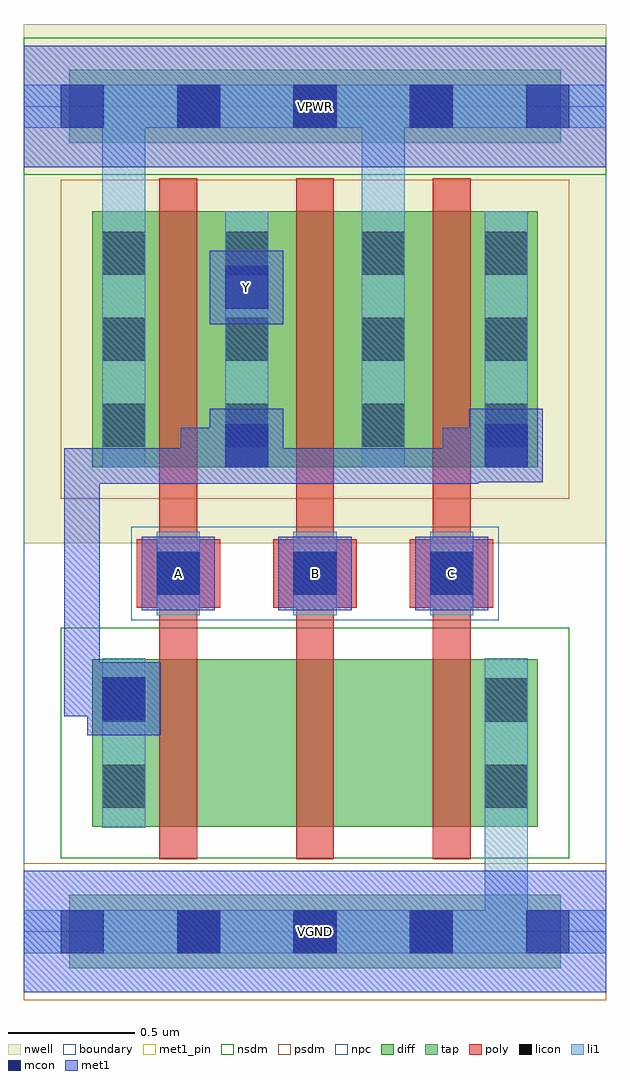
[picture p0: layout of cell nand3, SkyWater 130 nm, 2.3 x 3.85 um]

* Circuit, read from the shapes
.subckt nand3 A B C VGND VPWR Y
XM1 n1 A Y VGND sky130_fd_pr__nfet_01v8 w=0.66 l=0.15
XM2 n2 B n1 VGND sky130_fd_pr__nfet_01v8 w=0.66 l=0.15
XM3 VGND C n2 VGND sky130_fd_pr__nfet_01v8 w=0.66 l=0.15
XM4 Y A VPWR VPWR sky130_fd_pr__pfet_01v8 w=1.01 l=0.15
XM5 VPWR B Y VPWR sky130_fd_pr__pfet_01v8 w=1.01 l=0.15
XM6 Y C VPWR VPWR sky130_fd_pr__pfet_01v8 w=1.01 l=0.15
.ends

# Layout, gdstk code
import gdstk
lib = gdstk.Library(unit=1e-6, precision=1e-09)
def R(c, l, rs):  # rectangles x0, y0, x1, y1
    for r in rs: c.add(gdstk.rectangle(r[:2], r[2:], *l))
def A(c, l, x, y, w, h, nx, ny, dx, dy):  # array of equal rectangles
    R(c, l, [(x+i*dx, y+j*dy, x+i*dx+w, y+j*dy+h) for i in range(nx) for j in range(ny)])
nwell = (64, 20)
diff = (65, 20)
tap = (65, 44)
poly = (66, 20)
licon = (66, 44)
li1 = (67, 20)
mcon = (67, 44)
met1_pin = (68, 16)
met1 = (68, 20)
nsdm = (93, 44)
psdm = (94, 20)
npc = (95, 20)
boundary = (235, 4)

nand3 = lib.new_cell('nand3')
R(nand3, nwell, [(0,1.535,2.3,3.585)])
R(nand3, diff, [(0.27,0.415,2.03,1.075), (0.27,1.835,2.03,2.845)])
R(nand3, tap, [(0.18,-0.145,2.12,0.145), (0.18,3.115,2.12,3.405)])
A(nand3, poly, 0.535, 0.285, 0.15, 2.69, 3, 1, 0.54, 0)
A(nand3, poly, 0.445, 1.28, 0.33, 0.27, 3, 1, 0.54, 0)
A(nand3, licon, 0.605, -0.085, 0.17, 0.17, 3, 2, 0.46, 3.26)
A(nand3, licon, 0.525, 1.33, 0.17, 0.17, 3, 1, 0.54, 0)
A(nand3, licon, 0.31, 1.915, 0.17, 0.17, 1, 3, 0, 0.34)
A(nand3, licon, 0.795, 1.915, 0.17, 0.17, 1, 3, 0, 0.34)
A(nand3, licon, 1.335, 1.915, 0.17, 0.17, 1, 3, 0, 0.34)
A(nand3, licon, 1.82, 1.915, 0.17, 0.17, 1, 3, 0, 0.34)
R(nand3, licon, [(0.31,0.49,0.48,0.66), (1.82,0.49,1.99,0.66), (0.31,0.83,0.48,1), (1.82,0.83,1.99,1)])
A(nand3, li1, 0.525, 1.25, 0.17, 0.33, 3, 1, 0.54, 0)
R(nand3, li1, [(0,-0.085,2.3,0.085), (1.82,-0.085,1.99,1.08), (0.31,0.41,0.48,1.08), (1.82,0.41,1.99,1.08), (0.31,1.835,0.48,2.845), (0.31,1.835,0.48,3.345), (0.795,1.835,0.965,2.845), (1.335,1.835,1.505,2.845), (1.335,1.835,1.505,3.345), (1.82,1.835,1.99,2.845), (0,3.175,2.3,3.345)])
A(nand3, mcon, 0.145, -0.085, 0.17, 0.17, 5, 2, 0.46, 3.26)
A(nand3, mcon, 0.525, 1.33, 0.17, 0.17, 3, 1, 0.54, 0)
R(nand3, mcon, [(0.31,0.835,0.48,1.005), (0.795,1.835,0.965,2.005), (1.82,1.835,1.99,2.005), (0.795,2.46,0.965,2.63)])
A(nand3, met1_pin, 0.465, 1.27, 0.29, 0.29, 3, 1, 0.54, 0)
R(nand3, met1_pin, [(0,-0.24,2.3,0.24), (0.735,2.4,1.025,2.69), (0,3.02,2.3,3.5)])
A(nand3, met1, 0.465, 1.27, 0.29, 0.29, 3, 1, 0.54, 0)
R(nand3, met1, [(0,-0.24,2.3,0.24), (0.25,0.775,0.54,1.065), (0.16,0.85,0.465,0.99), (0.16,0.85,0.3,1.91), (0.16,1.77,0.76,1.91), (0.62,1.77,0.76,1.99), (0.62,1.77,1.795,1.91), (1.655,1.77,1.795,1.99), (0.735,1.775,1.025,2.065), (1.76,1.775,2.05,2.065), (0.62,1.85,0.95,1.99), (1.655,1.85,1.975,1.99), (0.735,2.4,1.025,2.69), (0,3.02,2.3,3.5)])
R(nand3, nsdm, [(0.145,0.29,2.155,1.2), (0,2.99,2.3,3.53)])
R(nand3, psdm, [(0,-0.27,2.3,0.27), (0.145,1.71,2.155,2.97)])
R(nand3, npc, [(0.425,1.23,1.875,1.6)])
R(nand3, boundary, [(0,0,2.3,3.26)])
nand3.add(gdstk.Label('A', (0.61,1.415), layer=68, texttype=5))
nand3.add(gdstk.Label('B', (1.15,1.415), layer=68, texttype=5))
nand3.add(gdstk.Label('C', (1.69,1.415), layer=68, texttype=5))
nand3.add(gdstk.Label('Y', (0.88,2.545), layer=68, texttype=5))
nand3.add(gdstk.Label('VPWR', (1.15,3.26), layer=68, texttype=5))
nand3.add(gdstk.Label('VGND', (1.15,0), layer=68, texttype=5))
nand3.add(gdstk.Label('A', (0.61,1.415), layer=68, texttype=16))
nand3.add(gdstk.Label('B', (1.15,1.415), layer=68, texttype=16))
nand3.add(gdstk.Label('C', (1.69,1.415), layer=68, texttype=16))
nand3.add(gdstk.Label('Y', (0.88,2.545), layer=68, texttype=16))
nand3.add(gdstk.Label('VPWR', (1.15,3.26), layer=68, texttype=16))
nand3.add(gdstk.Label('VGND', (1.15,0), layer=68, texttype=16))

lib.write_gds('nand3.gds')
